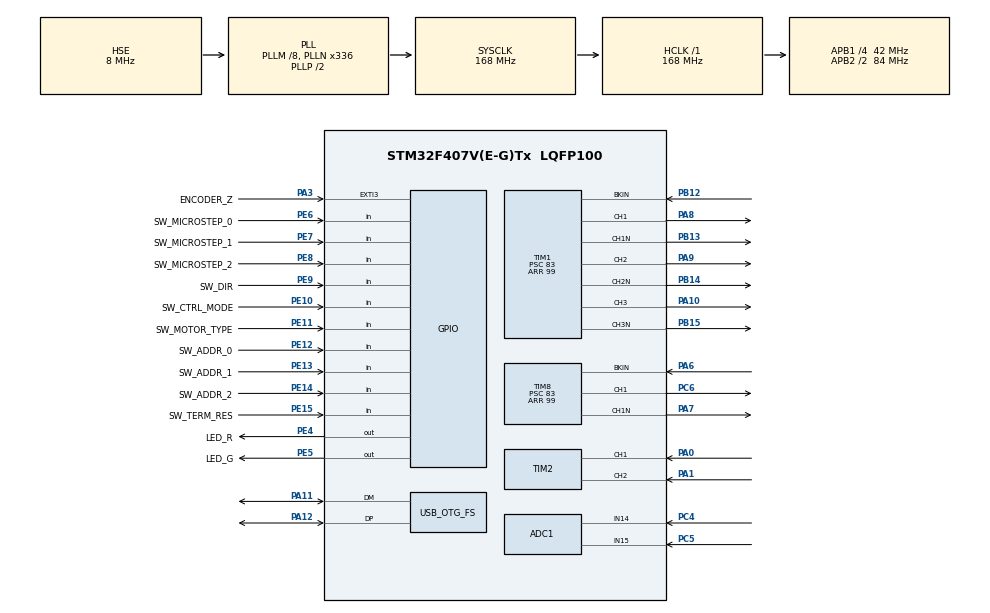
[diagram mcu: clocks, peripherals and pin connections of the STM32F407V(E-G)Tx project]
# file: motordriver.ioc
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ADC1.Channel-0\#ChannelRegularConversion=ADC_CHANNEL_14
ADC1.Channel-1\#ChannelInjectedConversion=ADC_CHANNEL_14
ADC1.Channel-2\#ChannelInjectedConversion=ADC_CHANNEL_15
ADC1.EOCSelection=ADC_EOC_SEQ_CONV
ADC1.ExternalTrigInjecConv=ADC_EXTERNALTRIGINJECCONV_T1_TRGO
ADC1.ExternalTrigInjecConvEdge=ADC_EXTERNALTRIGINJECCONVEDGE_RISING
ADC1.InjNumberOfConversion=2
ADC1.InjectedOffset-1\#ChannelInjectedConversion=0
ADC1.InjectedOffset-2\#ChannelInjectedConversion=0
ADC1.InjectedRank-1\#ChannelInjectedConversion=1
ADC1.InjectedRank-2\#ChannelInjectedConversion=2
ADC1.NbrOfConversionFlag=1
ADC1.Rank-0\#ChannelRegularConversion=1
ADC1.SamplingTime-0\#ChannelRegularConversion=ADC_SAMPLETIME_3CYCLES
ADC1.SamplingTime-1\#ChannelInjectedConversion=ADC_SAMPLETIME_56CYCLES
ADC1.SamplingTime-2\#ChannelInjectedConversion=ADC_SAMPLETIME_56CYCLES
ADC1.ScanConvMode=ENABLE
ADC1.master=1
Mcu.Family=STM32F4
Mcu.Name=STM32F407V(E-G)Tx
Mcu.Package=LQFP100
NVIC.ADC_IRQn=true\:4\:0\:true\:false\:true\:true\:true\:true
NVIC.EXTI3_IRQn=true\:6\:0\:true\:false\:true\:true\:true\:true
NVIC.OTG_FS_IRQn=true\:7\:0\:true\:false\:true\:false\:true\:true
NVIC.PriorityGroup=NVIC_PRIORITYGROUP_4
NVIC.TIM6_DAC_IRQn=true\:5\:0\:true\:false\:true\:true\:true\:true
PA0-WKUP.GPIO_PuPd=GPIO_NOPULL
PA0-WKUP.GPIO_Speed=GPIO_SPEED_FREQ_HIGH
PA0-WKUP.Signal=S_TIM2_CH1_ETR
PA1.GPIO_Speed=GPIO_SPEED_FREQ_HIGH
PA1.Signal=S_TIM2_CH2
PA10.Signal=S_TIM1_CH3
PA11.Mode=Device_Only
PA11.Signal=USB_OTG_FS_DM
PA12.Mode=Device_Only
PA12.Signal=USB_OTG_FS_DP
PA13.Mode=Serial_Wire
PA13.Signal=SYS_JTMS-SWDIO
PA14.Mode=Serial_Wire
PA14.Signal=SYS_JTCK-SWCLK
PA3.GPIO_Label=ENCODER_Z
PA3.GPIO_ModeDefaultEXTI=GPIO_MODE_IT_RISING
PA3.Signal=GPXTI3
PA6.GPIO_PuPd=GPIO_PULLUP
PA6.Mode=Activate-Break-Input
PA6.Signal=TIM8_BKIN
PA7.Mode=PWM Generation1 CH1 CH1N
PA7.Signal=TIM8_CH1N
PA8.Signal=S_TIM1_CH1
PA9.Signal=S_TIM1_CH2
PB12.GPIO_PuPd=GPIO_PULLUP
PB12.Mode=Activate-Break-Input
PB12.Signal=TIM1_BKIN
PB13.Mode=PWM Generation1 CH1 CH1N
PB13.Signal=TIM1_CH1N
PB14.Mode=PWM Generation2 CH2 CH2N
PB14.Signal=TIM1_CH2N
PB15.Mode=PWM Generation3 CH3 CH3N
PB15.Signal=TIM1_CH3N
PC4.Signal=ADCx_IN14
PC5.Signal=ADCx_IN15
PC6.Signal=S_TIM8_CH1
PE10.GPIO_Label=SW_CTRL_MODE
PE10.GPIO_PuPd=GPIO_PULLUP
PE10.Signal=GPIO_Input
PE11.GPIO_Label=SW_MOTOR_TYPE
PE11.GPIO_PuPd=GPIO_PULLUP
PE11.Signal=GPIO_Input
PE12.GPIO_Label=SW_ADDR_0
PE12.GPIO_PuPd=GPIO_PULLUP
PE12.Signal=GPIO_Input
PE13.GPIO_Label=SW_ADDR_1
PE13.GPIO_PuPd=GPIO_PULLUP
PE13.Signal=GPIO_Input
PE14.GPIO_Label=SW_ADDR_2
PE14.GPIO_PuPd=GPIO_PULLUP
PE14.Signal=GPIO_Input
PE15.GPIO_Label=SW_TERM_RES
PE15.GPIO_PuPd=GPIO_PULLUP
PE15.Signal=GPIO_Input
PE4.GPIO_Label=LED_R
PE4.GPIO_PuPd=GPIO_PULLUP
PE4.PinState=GPIO_PIN_SET
PE4.Signal=GPIO_Output
PE5.GPIO_Label=LED_G
PE5.GPIO_PuPd=GPIO_PULLUP
PE5.PinState=GPIO_PIN_SET
PE5.Signal=GPIO_Output
PE6.GPIO_Label=SW_MICROSTEP_0
PE6.GPIO_PuPd=GPIO_PULLUP
PE6.Signal=GPIO_Input
PE7.GPIO_Label=SW_MICROSTEP_1
PE7.GPIO_PuPd=GPIO_PULLUP
PE7.Signal=GPIO_Input
PE8.GPIO_Label=SW_MICROSTEP_2
PE8.GPIO_Mode=GPIO_MODE_INPUT
PE8.GPIO_PuPd=GPIO_PULLUP
PE8.Signal=GPIO_Input
PE9.GPIO_Label=SW_DIR
PE9.GPIO_PuPd=GPIO_PULLUP
PE9.Signal=GPIO_Input
PH0-OSC_IN.Mode=HSE-External-Oscillator
PH0-OSC_IN.Signal=RCC_OSC_IN
PH1-OSC_OUT.Mode=HSE-External-Oscillator
PH1-OSC_OUT.Signal=RCC_OSC_OUT
ProjectManager.HeapSize=0x600
ProjectManager.StackSize=0x400
ProjectManager.TargetToolchain=MDK-ARM V5.32
RCC.48MHZClocksFreq_Value=48000000
RCC.AHBFreq_Value=168000000
RCC.APB1CLKDivider=RCC_HCLK_DIV4
RCC.APB1Freq_Value=42000000
RCC.APB1TimFreq_Value=84000000
RCC.APB2CLKDivider=RCC_HCLK_DIV2
RCC.APB2Freq_Value=84000000
RCC.APB2TimFreq_Value=168000000
RCC.CortexFreq_Value=168000000
RCC.HCLKFreq_Value=168000000
RCC.HSE_VALUE=8000000
RCC.HSI_VALUE=16000000
RCC.LSE_VALUE=32768
RCC.PLLM=8
RCC.PLLN=336
RCC.PLLQ=7
RCC.SYSCLKFreq_VALUE=168000000
RCC.SYSCLKSource=RCC_SYSCLKSOURCE_PLLCLK
RCC.VCOOutputFreq_Value=336000000
SH.ADCx_IN14.0=ADC1_IN14,IN14
SH.ADCx_IN15.0=ADC1_IN15,IN15
SH.S_TIM1_CH1.0=TIM1_CH1,PWM Generation1 CH1 CH1N
SH.S_TIM1_CH2.0=TIM1_CH2,PWM Generation2 CH2 CH2N
SH.S_TIM1_CH3.0=TIM1_CH3,PWM Generation3 CH3 CH3N
SH.S_TIM2_CH1_ETR.0=TIM2_CH1,Encoder_Interface
SH.S_TIM2_CH2.0=TIM2_CH2,Encoder_Interface
SH.S_TIM8_CH1.0=TIM8_CH1,PWM Generation1 CH1 CH1N
TIM1.AutomaticOutput=TIM_AUTOMATICOUTPUT_ENABLE
TIM1.BreakPolarity=TIM_BREAKPOLARITY_LOW
TIM1.Channel-PWM\ Generation1\ CH1\ CH1N=TIM_CHANNEL_1
TIM1.Channel-PWM\ Generation2\ CH2\ CH2N=TIM_CHANNEL_2
TIM1.Channel-PWM\ Generation3\ CH3\ CH3N=TIM_CHANNEL_3
TIM1.Channel-PWM\ Generation4\ No\ Output=TIM_CHANNEL_4
TIM1.OCIdleState_1=TIM_OCIDLESTATE_SET
TIM1.OCIdleState_2=TIM_OCIDLESTATE_SET
TIM1.OCIdleState_3=TIM_OCIDLESTATE_SET
TIM1.OCMode_PWM-PWM\ Generation4\ No\ Output=TIM_OCMODE_PWM2
TIM1.OCNIdleState_1=TIM_OCNIDLESTATE_RESET
TIM1.OCNIdleState_2=TIM_OCNIDLESTATE_RESET
TIM1.OCNIdleState_3=TIM_OCNIDLESTATE_RESET
TIM1.OCNPolarity_1=TIM_OCNPOLARITY_LOW
TIM1.OCNPolarity_2=TIM_OCNPOLARITY_LOW
TIM1.OCNPolarity_3=TIM_OCNPOLARITY_LOW
TIM1.OffStateIDLEMode=TIM_OSSI_ENABLE
TIM1.OffStateRunMode=TIM_OSSR_ENABLE
TIM1.Period=99
TIM1.Prescaler=83
TIM1.Pulse-PWM\ Generation1\ CH1\ CH1N=49
TIM1.Pulse-PWM\ Generation2\ CH2\ CH2N=49
TIM1.Pulse-PWM\ Generation3\ CH3\ CH3N=49
TIM1.Pulse-PWM\ Generation4\ No\ Output=50
TIM1.TIM_MasterOutputTrigger=TIM_TRGO_OC4REF
TIM2.EncoderMode=TIM_ENCODERMODE_TI12
TIM2.IC1Filter=6
TIM2.IC2Filter=6
TIM6.Period=99
TIM6.Prescaler=83
TIM8.BreakPolarity=TIM_BREAKPOLARITY_LOW
TIM8.BreakState=TIM_BREAK_ENABLE
TIM8.Channel-PWM\ Generation1\ CH1\ CH1N=TIM_CHANNEL_1
TIM8.OCIdleState_1=TIM_OCIDLESTATE_SET
TIM8.OCNIdleState_1=TIM_OCNIDLESTATE_RESET
TIM8.OCNPolarity_1=TIM_OCNPOLARITY_LOW
TIM8.OffStateIDLEMode=TIM_OSSI_ENABLE
TIM8.OffStateRunMode=TIM_OSSR_ENABLE
TIM8.Period=99
TIM8.Prescaler=83
USB_DEVICE.CLASS_NAME_FS=CDC
USB_DEVICE.VirtualMode-CDC_FS=Cdc
USB_DEVICE.VirtualModeFS=Cdc_FS
USB_OTG_FS.VirtualMode=Device_Only
VP_TIM1_VS_ClockSourceINT.Mode=Internal
VP_TIM1_VS_no_output4.Mode=PWM Generation4 No Output
VP_TIM6_VS_ClockSourceINT.Mode=Enable_Timer
VP_TIM8_VS_ClockSourceINT.Mode=Internal
VP_USB_DEVICE_VS_USB_DEVICE_CDC_FS.Mode=CDC_FS
board=custom

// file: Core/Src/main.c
/* USER CODE BEGIN Header */
/**
  ******************************************************************************
  * @file           : main.c
  * @brief          : Main program body
  ******************************************************************************
  * @attention
  *
  * Copyright (c) 2026 STMicroelectronics.
  * All rights reserved.
  *
  * This software is licensed under terms that can be found in the LICENSE file
  * in the root directory of this software component.
  * If no LICENSE file comes with this software, it is provided AS-IS.
  *
  ******************************************************************************
  */
/* USER CODE END Header */
#include "main.h"
#include "adc.h"
#include "tim.h"
#include "usb_device.h"
#include "gpio.h"

/* USER CODE BEGIN Includes */
#include "dip_switch.h"
#include "motor_driver.h"
#include "stepper_driver.h"
#include "driver_eg2131_gpio.h"
#include "FOC.h"
#include "adc_task.h"
#include "motion_trap2.h"
#include "encoder.h"
#include "vofa.h"
/* USER CODE END Includes */

/* USER CODE BEGIN PD */
#define VDC_NOMINAL   24.0f

#ifndef M_PI
#define M_PI 3.14159265358979323846
#endif

#define CTRL_DT             0.0001f   // TIM6 = 10kHz
#define ELEC_CYCLE_PER_REV  50.0f

// 绝对d/q电压命令
#define UQ_RUN_V        8.0f
#define UD_RUN_V       -8.0f

// 停止保持时保守一些，避免长时间大电流
#define UQ_HOLD_V       2.0f
#define UD_HOLD_V       0.0f

#define UQ_RUN_RATIO   (UQ_RUN_V  / VDC_NOMINAL)
#define UQ_HOLD_RATIO  (UQ_HOLD_V / VDC_NOMINAL)

#define K_POS_HOLD     (2.0f * (float)M_PI * 0.30f)

#define ERR_LIM_HOLD   0.03f
#define ERR_DONE_REV   0.003f

// VOFA按钮
volatile uint8_t g_cmd_start = 0;
volatile uint8_t g_cmd_stop  = 0;
volatile uint8_t g_cmd_zero  = 0;

/* USER CODE END PD */

/* USER CODE BEGIN PV */
DipSwitch_TypeDef dip_switch;  // 定义拨码开关状态结构体

foc_ol_t foc;//foc结构体
motion_trap2_t motion;//运动曲线结构体
encoder_t enc;//编码器结构体
volatile float g_uq_target_ratio = 0.0f;//uq值
volatile float g_theta_offset = 0.0f;
volatile uint32_t g_z_seen = 0;      // Z脉冲计数（调试用）
volatile uint8_t  g_z_homed = 0;     // 是否已经回零（可选）
volatile uint8_t g_start_motion = 0;//在电机使能/驱动上电后才开始跑标志位
volatile uint16_t g_settle_ok_cnt = 0;//收尾计数器
/* USER CODE END PV */

void SystemClock_Config(void);

int main(void)
{

  /* MCU Configuration--------------------------------------------------------*/

  /* Reset of all peripherals, Initializes the Flash interface and the Systick. */
  HAL_Init();

  /* Configure the system clock */
  SystemClock_Config();

  /* Initialize all configured peripherals */
  MX_GPIO_Init();
  MX_USB_DEVICE_Init();
  MX_TIM1_Init();
  MX_TIM8_Init();
  MX_TIM6_Init();
  MX_ADC1_Init();
  MX_TIM2_Init();
  /* USER CODE BEGIN 2 */
  VOFA_Init();
  FOC_SetDefaultParams(&foc);
  FOC_OpenLoopInit(&foc, VDC_NOMINAL, 0.0f, 0.0f);
  MotionTrap2_Init(&motion);

  Encoder_Init(&enc);
  Encoder_Start(&enc, &htim2);   // 你TIM2已经在CubeMX里配置为Encoder
  Encoder_Zero(&enc, &htim2);     // 强制从0开始
  // 1) TIM1 跑起来（CH4 用 PWM2 No Output 产生中点上升沿）
  //HAL_TIM_Base_Start(&htim1);
  //HAL_TIM_PWM_Start(&htim1, TIM_CHANNEL_4);

  // 2) ADC 采样任务初始化 + 开始 Injected（中断）
  //ADC_Task_Init();
  //ADC_Task_StartInjected();

  // 启动 TIM6 10kHz 中断
  HAL_TIM_Base_Start_IT(&htim6);

  /* USER CODE END 2 */

  /* Infinite loop */
  /* USER CODE BEGIN WHILE */
  while (1)
  {
    if (g_cmd_zero)
    {
        g_cmd_zero = 0;
        Encoder_Zero(&enc, &htim2);
        MotionTrap2_Init(&motion);
        FOC_AllOff();
        foc.Ud = 0.0f;
        foc.Uq = 0.0f;
    }

    if (g_cmd_stop)
    {
        g_cmd_stop = 0;
        MotionTrap2_Stop(&motion);
        FOC_AllOff();
        foc.Ud = 0.0f;
        foc.Uq = 0.0f;
    }

    if (g_cmd_start)
    {
        g_cmd_start = 0;

        MotionTrap2_Init(&motion);

        // 先保守一点，别一上来就太高
        MotionTrap2_StartMoveAbs(&motion,
                                 enc.pos_rev,
                                 enc.pos_rev + 20.0f,
                                 4.0f,
                                 1.0f,
                                 1.0f);
    }

    // VOFA发送
    static uint32_t last_vofa = 0;
    uint32_t now = HAL_GetTick();
    if (now - last_vofa >= 20)
    {
        last_vofa = now;

        VOFA_SendFrame6(
            motion.vel * 60.0f,                 // 目标速度 rpm
            enc.vel_rpm_f,                     // 实际速度 rpm
            motion.target_pos - enc.pos_rev,   // 位置误差 rev
            foc.Ud,                            // 当前Ud
            foc.Uq,                            // 当前Uq
            foc.Vdc                            // 当前Vdc
        );
    }

    VOFA_Process();
    /* USER CODE END WHILE */

  }
}

void SystemClock_Config(void)
{
  RCC_OscInitTypeDef RCC_OscInitStruct = {0};
  RCC_ClkInitTypeDef RCC_ClkInitStruct = {0};

  /** Configure the main internal regulator output voltage
  */
  __HAL_RCC_PWR_CLK_ENABLE();
  __HAL_PWR_VOLTAGESCALING_CONFIG(PWR_REGULATOR_VOLTAGE_SCALE1);

  /** Initializes the RCC Oscillators according to the specified parameters
  * in the RCC_OscInitTypeDef structure.
  */
  RCC_OscInitStruct.OscillatorType = RCC_OSCILLATORTYPE_HSE;
  RCC_OscInitStruct.HSEState = RCC_HSE_ON;
  RCC_OscInitStruct.PLL.PLLState = RCC_PLL_ON;
  RCC_OscInitStruct.PLL.PLLSource = RCC_PLLSOURCE_HSE;
  RCC_OscInitStruct.PLL.PLLM = 8;
  RCC_OscInitStruct.PLL.PLLN = 336;
  RCC_OscInitStruct.PLL.PLLP = RCC_PLLP_DIV2;
  RCC_OscInitStruct.PLL.PLLQ = 7;
  if (HAL_RCC_OscConfig(&RCC_OscInitStruct) != HAL_OK)
  {
    Error_Handler();
  }

  /** Initializes the CPU, AHB and APB buses clocks
  */
  RCC_ClkInitStruct.ClockType = RCC_CLOCKTYPE_HCLK|RCC_CLOCKTYPE_SYSCLK
                              |RCC_CLOCKTYPE_PCLK1|RCC_CLOCKTYPE_PCLK2;
  RCC_ClkInitStruct.SYSCLKSource = RCC_SYSCLKSOURCE_PLLCLK;
  RCC_ClkInitStruct.AHBCLKDivider = RCC_SYSCLK_DIV1;
  RCC_ClkInitStruct.APB1CLKDivider = RCC_HCLK_DIV4;
  RCC_ClkInitStruct.APB2CLKDivider = RCC_HCLK_DIV2;

  if (HAL_RCC_ClockConfig(&RCC_ClkInitStruct, FLASH_LATENCY_5) != HAL_OK)
  {
    Error_Handler();
  }
}

/* USER CODE BEGIN 4 */

// TIM6中断回调函数，10kHz / 100us
void HAL_TIM_PeriodElapsedCallback(TIM_HandleTypeDef *htim)
{
    if (htim->Instance == TIM6)
    {
        foc.Vdc = VDC_NOMINAL;

        // 1) 编码器更新
        Encoder_Update(&enc, &htim2, CTRL_DT);

        // 2) 梯形轨迹更新
        MotionTrap2_Update(&motion, CTRL_DT);

        // 3) 轨迹前馈角度   转换成需要输出给电机的电角度+零点漂移
        float theta_ff = 2.0f * (float)M_PI * (motion.pos * ELEC_CYCLE_PER_REV) + g_theta_offset;

        // 4) 停止收尾目标角
        float theta_target = 2.0f * (float)M_PI * (motion.target_pos * ELEC_CYCLE_PER_REV) + g_theta_offset;

        // 5) 位置误差
        float pos_err_hold = motion.target_pos - enc.pos_rev;
        float err_abs = (pos_err_hold >= 0.0f) ? pos_err_hold : -pos_err_hold;

        if (pos_err_hold > ERR_LIM_HOLD)  pos_err_hold = ERR_LIM_HOLD;
        if (pos_err_hold < -ERR_LIM_HOLD) pos_err_hold = -ERR_LIM_HOLD;

        if (motion.busy)
        {
            // 运行阶段：24V, Uq=8V, Ud=-8V
            g_uq_target_ratio = UQ_RUN_RATIO;

            // 先把Uq缓升到目标
            FOC_OpenLoopRampUqRatio(&foc, g_uq_target_ratio, 0.005f);

            // Ud直接给固定绝对值
            foc.Ud = UD_RUN_V;

            // 按给定theta输出
            FOC_OutputByTheta(&foc, theta_ff, foc.Uq);

            g_settle_ok_cnt = 0;
        }
        else
        {
            // 停止阶段：保守保持
            g_uq_target_ratio = UQ_HOLD_RATIO;
            FOC_OpenLoopRampUqRatio(&foc, g_uq_target_ratio, 0.005f);
            foc.Ud = UD_HOLD_V;

            float theta_cmd = theta_target + K_POS_HOLD * pos_err_hold;

            if (err_abs < ERR_DONE_REV)
            {
                if (g_settle_ok_cnt < 65535) {
                    g_settle_ok_cnt++;
                }
            }
            else
            {
                g_settle_ok_cnt = 0;
            }

            if (g_settle_ok_cnt >= 50)
            {
                FOC_AllOff();
                foc.Ud = 0.0f;
                foc.Uq = 0.0f;
            }
            else
            {
                FOC_OutputByTheta(&foc, theta_cmd, foc.Uq);
            }
        }
    }
}

//定时器1通道4回调函数
/*
void HAL_ADCEx_InjectedConvCpltCallback(ADC_HandleTypeDef* hadc)
{
  if (hadc->Instance != ADC1) return;

  uint16_t ia = HAL_ADCEx_InjectedGetValue(hadc, ADC_INJECTED_RANK_1); // PC4 CH14
  uint16_t ib = HAL_ADCEx_InjectedGetValue(hadc, ADC_INJECTED_RANK_2); // PC5 CH15

  ADC_Task_OnInjected(ia, ib);
}
*/
//外部中断回调函数
void HAL_GPIO_EXTI_Callback(uint16_t GPIO_Pin)
{
    // PA3起了别名ENCODER_Z，CubeMX生成 ENCODER_Z_Pin
    if (GPIO_Pin == ENCODER_Z_Pin)
    {
        g_z_seen++;

        // 可选：第一次看到Z就认为回零成功，并把编码器清零
        // 注意：只有确认Z确实是每圈一次Index，且不会乱跳时才这样用
        if (!g_z_homed)
        {
            g_z_homed = 1;
            Encoder_Zero(&enc, &htim2);
            // 你也可以在这里做theta_offset标定（后面我们再加）
        }
    }
}
/* USER CODE END 4 */

void Error_Handler(void)
{
  __disable_irq();
  while (1)
  {
  }
}
